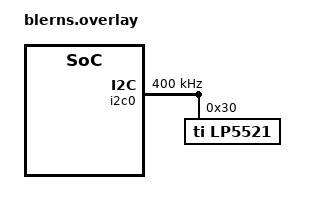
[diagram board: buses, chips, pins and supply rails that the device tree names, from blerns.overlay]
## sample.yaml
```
sample:
  description: Demonstration of the LP5521 LED driver
  name: LP5521 sample
  platforms: all
tests:
  test:
    platform_whitelist: nrf52840_pca10056
    tags: samples
```

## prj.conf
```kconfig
CONFIG_SYS_LOG=y

CONFIG_I2C=y

CONFIG_LED=y
CONFIG_LP5521=y
```

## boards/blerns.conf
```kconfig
CONFIG_I2C_NRFX=y
CONFIG_I2C_0=y
CONFIG_LP5521_GPIO_ENABLE=y
CONFIG_LP5521_GPIO_ENABLE_DEV_NAME="GPIO_1"
CONFIG_LP5521_GPIO_ENABLE_PIN_NUM=8
```

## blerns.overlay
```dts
&i2c0 {
	status = "ok";
	clock-frequency = <I2C_BITRATE_FAST>;

	lp5521@30 {
		compatible = "ti,lp5521";
		reg = <0x30>;
		label = "LP5521";
	};
};
```

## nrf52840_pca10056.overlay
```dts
&i2c0 {
	status = "ok";
	clock-frequency = <I2C_BITRATE_STANDARD>;

	lp5521@30 {
		compatible = "ti,lp5521";
		reg = <0x30>;
		label = "LP5521";
	};
};
```

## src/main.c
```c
/*
 * Copyright (c) 2018 Workaround GmbH
 *
 * SPDX-License-Identifier: Apache-2.0
 */

#include <device.h>
#include <errno.h>
#include <led.h>
#include <misc/util.h>
#include <zephyr.h>
#include <gpio.h>

#define SYS_LOG_LEVEL SYS_LOG_LEVEL_DEBUG
#include <logging/sys_log.h>

#define LED_DEV_NAME CONFIG_LP5521_DEV_NAME
#define NUM_LEDS 3
#define BLINK_DELAY_ON 500
#define BLINK_DELAY_OFF 500
#define DELAY_TIME K_MSEC(2000)
#define COLORS_TO_SHOW 8
#define VALUES_PER_COLOR 3

/*
 * We assume that the colors are connected the way it is described in the driver
 * datasheet.
 */
#define LED_R 0
#define LED_G 1
#define LED_B 2

/*
 * The following colors are shown in the given order.
 */
static u8_t colors[COLORS_TO_SHOW][VALUES_PER_COLOR] = {
	{ 0xFF, 0x00, 0x00 }, /*< Red    */
	{ 0x00, 0xFF, 0x00 }, /*< Green  */
	{ 0x00, 0x00, 0xFF }, /*< Blue   */
	{ 0xFF, 0xFF, 0xFF }, /*< White  */
	{ 0xFF, 0xFF, 0x00 }, /*< Yellow */
	{ 0xFF, 0x00, 0xFF }, /*< Purple */
	{ 0x00, 0xFF, 0xFF }, /*< Cyan   */
	{ 0xF4, 0x79, 0x20 }, /*< Orange */
};

/*
 * @brief scale hex values [0x00..0xFF] to percent [0..100].
 *
 * @param hex Hex value.
 *
 * @return Hex value scaled to percent.
 */
static inline u8_t scale_color_to_percent(u8_t hex)
{
	return (hex * 100) / 0xFF;
}

/*
 * @brief Set a color using the three RGB LEDs.
 *
 * @param dev LED device.
 * @param r Red value in hex [0x00..0xFF].
 * @param g Green value in hex [0x00..0xFF].
 * @param b Blue value in hex [0x00..0xFF].
 *
 * @return 0 if successful, -ERRNO otherwise.
 */
static int set_static_color(struct device *dev, u8_t r, u8_t g, u8_t b)
{
	int ret;

	r = scale_color_to_percent(r);
	g = scale_color_to_percent(g);
	b = scale_color_to_percent(b);

	ret = led_set_brightness(dev, LED_R, r);
	if (ret) {
		SYS_LOG_ERR("Failed to set color.");
		return ret;
	}

	ret = led_set_brightness(dev, LED_G, g);
	if (ret) {
		SYS_LOG_ERR("Failed to set color.");
		return ret;
	}

	ret = led_set_brightness(dev, LED_B, b);
	if (ret) {
		SYS_LOG_ERR("Failed to set color.");
		return ret;
	}

	return 0;
}

/*
 * @brief Blink the LED in the given color.
 *
 * Currently it is only possible to create colors by turning the three LEDs
 * completely on or off. Proper mixing is not supported by the underlying API.
 *
 * @param dev LED device.
 * @param r Blink the red LED.
 * @param g Blink the green LED.
 * @param b Blink the blue LED.
 * @param delay_on Time in ms the LEDs stay on.
 * @param delay_off Time in ms the LEDs stay off.
 *
 * @return 0 if successful, -ERRNO otherwise.
 */
static int blink_color(struct device *dev, bool r, bool g, bool b,
		u32_t delay_on, u32_t delay_off)
{
	int ret;

	if (r) {
		ret = led_blink(dev, LED_R, delay_on, delay_off);
		if (ret) {
			SYS_LOG_ERR("Failed to set color.");
			return ret;
		}
	}

	if (g) {
		ret = led_blink(dev, LED_G, delay_on, delay_off);
		if (ret) {
			SYS_LOG_ERR("Failed to set color.");
			return ret;
		}
	}

	if (b) {
		ret = led_blink(dev, LED_B, delay_on, delay_off);
		if (ret) {
			SYS_LOG_ERR("Failed to set color.");
			return ret;
		}
	}

	return 0;
}

/*
 * @brief Helper function to turn off all LEDs connected to the driver.
 *
 * @param dev LED driver device.
 *
 * @return 0 if successful, -ERRNO otherwise.
 */
static int turn_off_all_leds(struct device *dev)
{
	for (int i = 0; i < NUM_LEDS; i++) {
		int ret = led_off(dev, i);

		if (ret) {
			return ret;
		}
	}

	return 0;
}

void main(void)
{
	struct device *dev;
	int i, ret;

	dev = device_get_binding(LED_DEV_NAME);
	if (dev) {
		SYS_LOG_INF("Found LED device %s", LED_DEV_NAME);
	} else {
		SYS_LOG_ERR("LED device %s not found", LED_DEV_NAME);
		return;
	}

	SYS_LOG_INF("Testing leds");

	while (1) {

		for (i = 0; i < COLORS_TO_SHOW; i++) {
			ret = set_static_color(dev,
					colors[i][0],
					colors[i][1],
					colors[i][2]);
			if (ret) {
				return;
			}

			k_sleep(DELAY_TIME);
		}

		ret = turn_off_all_leds(dev);
		if (ret < 0) {
			return;
		}

		/* Blink white. */
		ret = blink_color(dev, true, true, true, BLINK_DELAY_ON,
				BLINK_DELAY_OFF);
		if (ret) {
			return;
		}

		/* Wait a few blinking before turning off the LEDs */
		k_sleep(2000);

		/* Blink purple. */
		ret = blink_color(dev, true, false, true, BLINK_DELAY_ON,
				BLINK_DELAY_OFF);
		if (ret) {
			return;
		}

		/* Wait a few blinking before turning off the LEDs */
		k_sleep(2000);


		/* Change the color of the LEDs while keeping blinking. */
		for (i = 0; i < COLORS_TO_SHOW; i++) {
			ret = set_static_color(dev,
					colors[i][0],
					colors[i][1],
					colors[i][2]);
			if (ret) {
				return;
			}

			k_sleep(DELAY_TIME * 2);
		}

		ret = turn_off_all_leds(dev);
		if (ret < 0) {
			return;
		}

		k_sleep(DELAY_TIME);
	}
}
```
